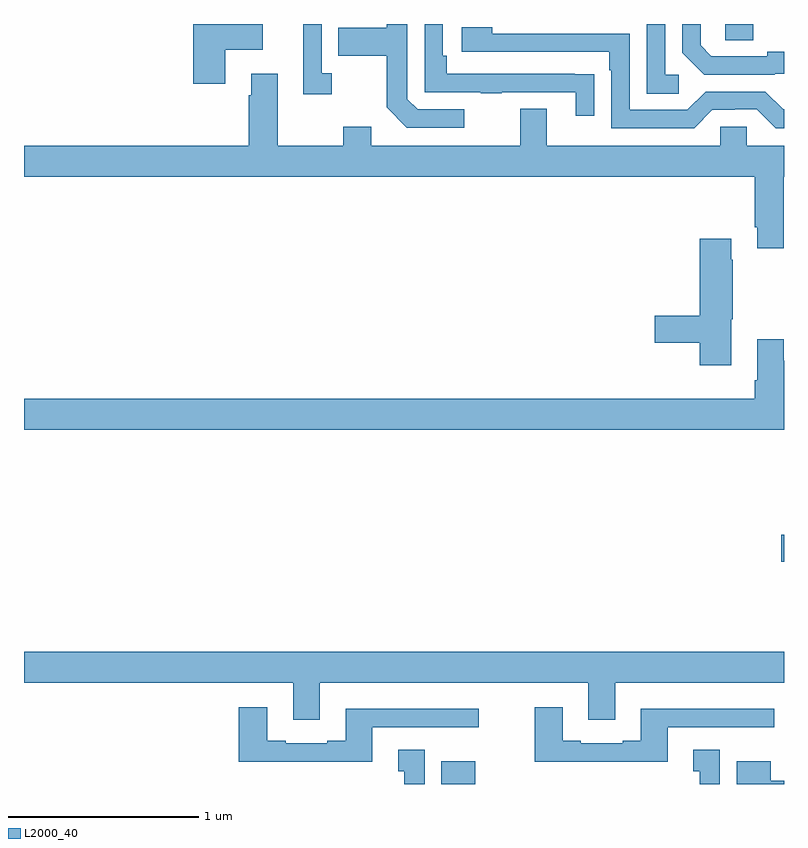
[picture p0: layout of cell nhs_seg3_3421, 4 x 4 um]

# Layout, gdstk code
import gdstk
lib = gdstk.Library(unit=1e-6, precision=1e-09)
def R(c, l, rs):  # rectangles x0, y0, x1, y1
    for r in rs: c.add(gdstk.rectangle(r[:2], r[2:], *l))
def P(c, l, *ps):  # polygons
    for p in ps: c.add(gdstk.Polygon(p, *l))
L2000_40 = (2000, 40)

nhs_seg3_3421 = lib.new_cell('nhs_seg3_3421')
R(nhs_seg3_3421, L2000_40, [(291.197,684.4,291.376,684.52), (292.986,685.57,293,685.712), (292.692,688.315,292.837,688.4)])
P(nhs_seg3_3421, L2000_40, [(290.62,688.142),(290.568,688.142),(290.568,688.4),(290.471,688.4),(290.471,688.029),(290.62,688.029)],
  [(290.059,688.265),(290.257,688.265),(290.257,688.4),(289.892,688.4),(289.892,688.086),(290.059,688.086)],
  [(292.001,688.136),(291.899,688.136),(291.899,688.137),(291.224,688.137),(291.224,688.234),(291.204,688.234),(291.204,688.4),(291.108,688.4),(291.108,688.041),(291.403,688.041),(291.403,688.036),(291.515,688.036),(291.515,688.041),(291.905,688.041),(291.905,687.918),(292.001,687.918)],
  [(291.316,687.951),(291.072,687.951),(291.018,688.005),(291.018,688.4),(290.91,688.4),(290.91,688.381),(290.653,688.381),(290.653,688.234),(290.91,688.234),(290.91,687.961),(291.015,687.855),(291.316,687.855)],
  [(292.447,688.134),(292.374,688.134),(292.374,688.4),(292.278,688.4),(292.278,688.033),(292.447,688.033)],
  [(292.952,688.137),(293,688.137),(293,688.253),(292.913,688.253),(292.913,688.23),(292.618,688.23),(292.561,688.287),(292.561,688.4),(292.464,688.4),(292.464,688.25),(292.58,688.134),(292.952,688.134)],
  [(293,687.951),(292.995,687.951),(292.902,688.044),(292.587,688.044),(292.491,687.948),(292.188,687.948),(292.188,688.35),(291.464,688.35),(291.464,688.384),(291.303,688.384),(291.303,688.254),(292.079,688.254),(292.079,688.157),(292.092,688.157),(292.092,687.852),(292.527,687.852),(292.623,687.948),(292.742,687.948),(292.742,687.951),(292.857,687.951),(292.957,687.851),(293,687.851)],
  [(292.999,687.596),(293,687.596),(293,687.76),(292.803,687.76),(292.803,687.858),(292.665,687.858),(292.665,687.76),(291.751,687.76),(291.751,687.955),(291.611,687.955),(291.611,687.76),(290.827,687.76),(290.827,687.859),(290.68,687.859),(290.68,687.76),(290.335,687.76),(290.335,688.138),(290.195,688.138),(290.195,688.025),(290.183,688.025),(290.183,687.76),(289,687.76),(289,687.596),(292.847,687.596),(292.847,687.331),(292.859,687.331),(292.859,687.219),(292.999,687.219)],
  [(292.723,686.847),(292.731,686.847),(292.731,687.158),(292.723,687.158),(292.723,687.271),(292.556,687.271),(292.556,686.864),(292.32,686.864),(292.32,686.722),(292.556,686.722),(292.556,686.604),(292.723,686.604)],
  [(293,686.627),(292.999,686.627),(292.999,686.74),(292.859,686.74),(292.859,686.524),(292.847,686.524),(292.847,686.428),(289,686.428),(289,686.264),(293,686.264)],
  [(290.557,684.932),(291.971,684.932),(291.971,684.738),(292.111,684.738),(292.111,684.932),(293,684.932),(293,685.096),(289,685.096),(289,684.932),(290.417,684.932),(290.417,684.738),(290.557,684.738)],
  [(290.833,684.699),(291.394,684.699),(291.394,684.796),(290.693,684.796),(290.693,684.628),(290.597,684.628),(290.597,684.615),(290.377,684.615),(290.377,684.628),(290.281,684.628),(290.281,684.805),(290.129,684.805),(290.129,684.518),(290.833,684.518)],
  [(292.387,684.699),(292.948,684.699),(292.948,684.796),(292.247,684.796),(292.247,684.628),(292.151,684.628),(292.151,684.615),(291.931,684.615),(291.931,684.628),(291.835,684.628),(291.835,684.805),(291.688,684.805),(291.688,684.518),(292.387,684.518)],
  [(292.663,684.58),(292.523,684.58),(292.523,684.467),(292.556,684.467),(292.556,684.4),(292.663,684.4)],
  [(291.109,684.58),(290.969,684.58),(290.969,684.467),(291.002,684.467),(291.002,684.4),(291.109,684.4)],
  [(293,684.416),(292.93,684.416),(292.93,684.52),(292.751,684.52),(292.751,684.4),(293,684.4)])

lib.write_gds('nhs_seg3_3421.gds')
